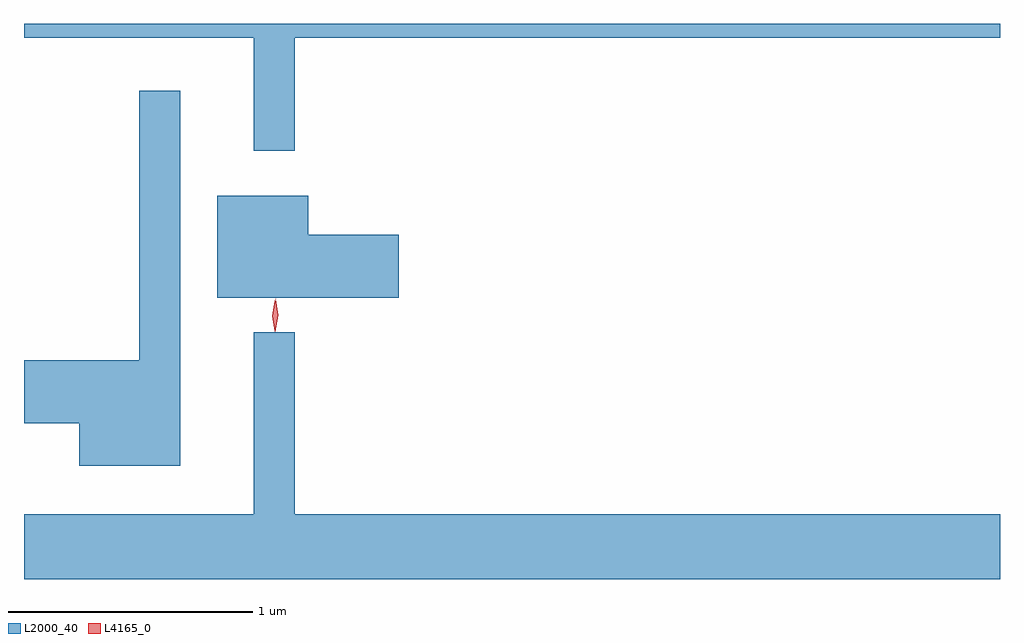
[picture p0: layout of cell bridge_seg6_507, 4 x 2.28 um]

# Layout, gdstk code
import gdstk
lib = gdstk.Library(unit=1e-6, precision=1e-09)
def P(c, l, *ps):  # polygons
    for p in ps: c.add(gdstk.Polygon(p, *l))
L2000_40 = (2000, 40)
L4165_0 = (4165, 0)

bridge_seg6_507 = lib.new_cell('bridge_seg6_507')
P(bridge_seg6_507, L2000_40, [(598.759,1663.256),(601.649,1663.256),(601.649,1663.314),(597.649,1663.314),(597.649,1663.256),(598.591,1663.256),(598.591,1662.793),(598.759,1662.793)],
  [(598.289,1663.038),(598.121,1663.038),(598.121,1661.934),(597.649,1661.934),(597.649,1661.676),(597.876,1661.676),(597.876,1661.501),(598.289,1661.501)],
  [(599.184,1662.449),(598.814,1662.449),(598.814,1662.609),(598.441,1662.609),(598.441,1662.191),(599.184,1662.191)],
  [(601.649,1661.304),(598.759,1661.304),(598.759,1662.048),(598.591,1662.048),(598.591,1661.304),(597.649,1661.304),(597.649,1661.036),(601.649,1661.036)])
P(bridge_seg6_507, L4165_0, [(598.678,1662.05),(598.67,1662.118),(598.68,1662.185),(598.681,1662.186),(598.681,1662.185),(598.69,1662.118),(598.679,1662.05),(598.679,1662.05)],
  [(598.676,1662.053),(598.667,1662.116),(598.676,1662.179),(598.677,1662.18),(598.677,1662.179),(598.687,1662.116),(598.677,1662.053),(598.677,1662.053)])

lib.write_gds('bridge_seg6_507.gds')
